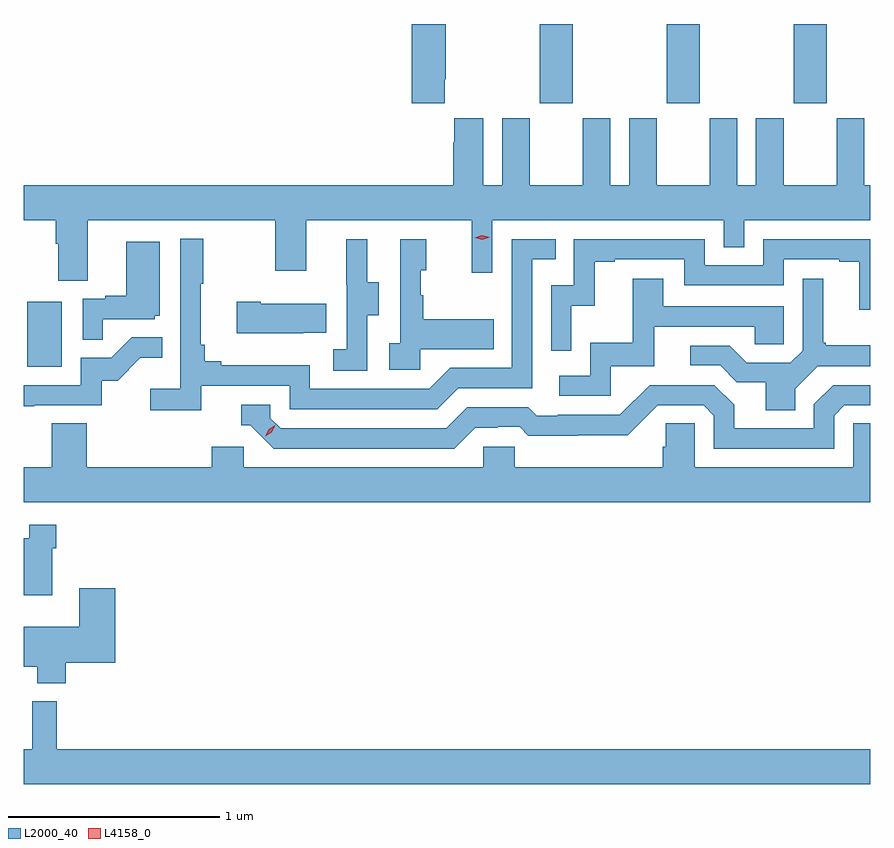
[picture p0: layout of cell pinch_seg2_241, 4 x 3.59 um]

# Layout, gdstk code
import gdstk
lib = gdstk.Library(unit=1e-6, precision=1e-09)
def R(c, l, rs):  # rectangles x0, y0, x1, y1
    for r in rs: c.add(gdstk.rectangle(r[:2], r[2:], *l))
def A(c, l, x, y, w, h, nx, ny, dx, dy):  # array of equal rectangles
    R(c, l, [(x+i*dx, y+j*dy, x+i*dx+w, y+j*dy+h) for i in range(nx) for j in range(ny)])
def P(c, l, *ps):  # polygons
    for p in ps: c.add(gdstk.Polygon(p, *l))
L2000_40 = (2000, 40)
L4158_0 = (4158, 0)

pinch_seg2_241 = lib.new_cell('pinch_seg2_241')
A(pinch_seg2_241, L2000_40, 928.759, 660.177, 0.155, 0.374, 3, 1, 0.6, 0)
R(pinch_seg2_241, L2000_40, [(926.336,658.932,926.5,659.239)])
P(pinch_seg2_241, L2000_40, [(928.309,660.289),(928.314,660.289),(928.314,660.551),(928.154,660.551),(928.154,660.177),(928.309,660.177)],
  [(926.623,659.624),(927.508,659.624),(927.508,659.385),(927.655,659.385),(927.655,659.624),(928.436,659.624),(928.436,659.376),(928.533,659.376),(928.533,659.624),(929.628,659.624),(929.628,659.497),(929.724,659.497),(929.724,659.624),(930.32,659.624),(930.32,659.788),(930.292,659.788),(930.292,660.106),(930.161,660.106),(930.161,659.788),(929.911,659.788),(929.911,660.106),(929.78,660.106),(929.78,659.788),(929.692,659.788),(929.692,660.106),(929.561,660.106),(929.561,659.788),(929.311,659.788),(929.311,660.106),(929.18,660.106),(929.18,659.788),(929.092,659.788),(929.092,660.106),(928.961,660.106),(928.961,659.788),(928.711,659.788),(928.711,660.106),(928.58,660.106),(928.58,659.788),(928.492,659.788),(928.492,660.106),(928.355,660.106),(928.355,659.993),(928.349,659.993),(928.349,659.788),(926.32,659.788),(926.32,659.624),(926.471,659.624),(926.471,659.512),(926.483,659.512),(926.483,659.338),(926.623,659.338)],
  [(927.158,658.842),(927.576,658.842),(927.576,658.731),(928.273,658.731),(928.372,658.83),(928.722,658.83),(928.722,659.439),(928.835,659.439),(928.835,659.535),(928.626,659.535),(928.626,658.926),(928.335,658.926),(928.236,658.827),(927.672,658.827),(927.672,658.939),(927.253,658.939),(927.253,658.958),(927.176,658.958),(927.176,659.035),(927.157,659.035),(927.157,659.323),(927.169,659.323),(927.169,659.536),(927.06,659.536),(927.06,658.828),(926.919,658.828),(926.919,658.726),(927.158,658.726)],
  [(928.908,659.219),(929.018,659.219),(929.018,659.427),(929.113,659.427),(929.113,659.439),(929.442,659.439),(929.442,659.316),(929.91,659.316),(929.91,659.439),(930.173,659.439),(930.173,659.427),(930.269,659.427),(930.269,659.201),(930.32,659.201),(930.32,659.535),(929.814,659.535),(929.814,659.412),(929.538,659.412),(929.538,659.535),(928.92,659.535),(928.92,659.316),(928.812,659.316),(928.812,659.007),(928.908,659.007)],
  [(928.194,659.015),(928.541,659.015),(928.541,659.155),(928.207,659.155),(928.207,659.27),(928.197,659.27),(928.197,659.388),(928.222,659.388),(928.222,659.533),(928.098,659.533),(928.098,659.042),(928.047,659.042),(928.047,658.917),(928.194,658.917)],
  [(927.942,659.176),(927.997,659.176),(927.997,659.331),(927.943,659.331),(927.943,659.533),(927.845,659.533),(927.845,659.319),(927.846,659.319),(927.846,659.015),(927.783,659.015),(927.783,658.912),(927.942,658.912)],
  [(926.693,659.157),(926.94,659.157),(926.94,659.172),(926.962,659.172),(926.962,659.521),(926.804,659.521),(926.804,659.266),(926.705,659.266),(926.705,659.253),(926.598,659.253),(926.598,659.059),(926.693,659.059)],
  [(929.965,658.828),(930.072,658.935),(930.32,658.935),(930.32,659.032),(930.109,659.032),(930.109,659.044),(930.097,659.044),(930.097,659.347),(930,659.347),(930,659.007),(929.943,658.95),(929.737,658.95),(929.656,659.031),(929.469,659.031),(929.469,658.938),(929.61,658.938),(929.69,658.858),(929.825,658.858),(929.825,658.726),(929.965,658.726)],
  [(929.094,658.935),(929.299,658.935),(929.299,659.121),(929.773,659.121),(929.773,659.037),(929.91,659.037),(929.91,659.217),(929.341,659.217),(929.341,659.347),(929.197,659.347),(929.197,659.044),(928.998,659.044),(928.998,658.89),(928.851,658.89),(928.851,658.794),(929.094,658.794)],
  [(927.641,659.093),(927.749,659.093),(927.749,659.23),(927.439,659.23),(927.439,659.238),(927.327,659.238),(927.327,659.09),(927.641,659.09)],
  [(926.369,658.749),(926.688,658.749),(926.688,658.866),(926.764,658.866),(926.871,658.973),(926.975,658.973),(926.975,659.072),(926.831,659.072),(926.733,658.974),(926.589,658.974),(926.589,658.845),(926.32,658.845),(926.32,658.744),(926.369,658.744)],
  [(928.453,658.644),(928.56,658.644),(928.56,658.647),(928.663,658.647),(928.705,658.605),(928.938,658.605),(928.938,658.607),(929.174,658.607),(929.316,658.749),(929.532,658.749),(929.58,658.701),(929.58,658.545),(930.15,658.545),(930.15,658.701),(930.198,658.749),(930.32,658.749),(930.32,658.845),(930.144,658.845),(930.054,658.755),(930.054,658.641),(929.677,658.641),(929.677,658.751),(929.583,658.845),(929.277,658.845),(929.136,658.704),(928.843,658.704),(928.843,658.701),(928.744,658.701),(928.705,658.74),(928.416,658.74),(928.317,658.641),(927.534,658.641),(927.486,658.689),(927.486,658.752),(927.347,658.752),(927.347,658.656),(927.39,658.656),(927.501,658.545),(928.354,658.545)],
  [(930.32,658.664),(930.24,658.664),(930.24,658.456),(929.49,658.456),(929.49,658.664),(929.353,658.664),(929.353,658.554),(929.339,658.554),(929.339,658.456),(928.641,658.456),(928.641,658.554),(928.491,658.554),(928.491,658.456),(927.36,658.456),(927.36,658.554),(927.209,658.554),(927.209,658.456),(926.618,658.456),(926.618,658.664),(926.453,658.664),(926.453,658.456),(926.32,658.456),(926.32,658.292),(930.32,658.292)],
  [(926.454,658.073),(926.474,658.073),(926.474,658.186),(926.346,658.186),(926.346,658.12),(926.32,658.12),(926.32,657.851),(926.454,657.851)],
  [(926.519,657.533),(926.753,657.533),(926.753,657.886),(926.582,657.886),(926.582,657.703),(926.32,657.703),(926.32,657.515),(926.384,657.515),(926.384,657.437),(926.519,657.437)],
  [(930.32,657.124),(926.477,657.124),(926.477,657.352),(926.36,657.352),(926.36,657.124),(926.32,657.124),(926.32,656.96),(930.32,656.96)])
P(pinch_seg2_241, L4158_0, [(928.486,659.532),(928.45,659.54),(928.45,659.54),(928.45,659.541),(928.485,659.552),(928.521,659.543),(928.522,659.543),(928.521,659.543)],
  [(927.461,658.604),(927.461,658.604),(927.478,658.637),(927.509,658.656),(927.509,658.656),(927.509,658.656),(927.493,658.623),(927.462,658.604)])

lib.write_gds('pinch_seg2_241.gds')
